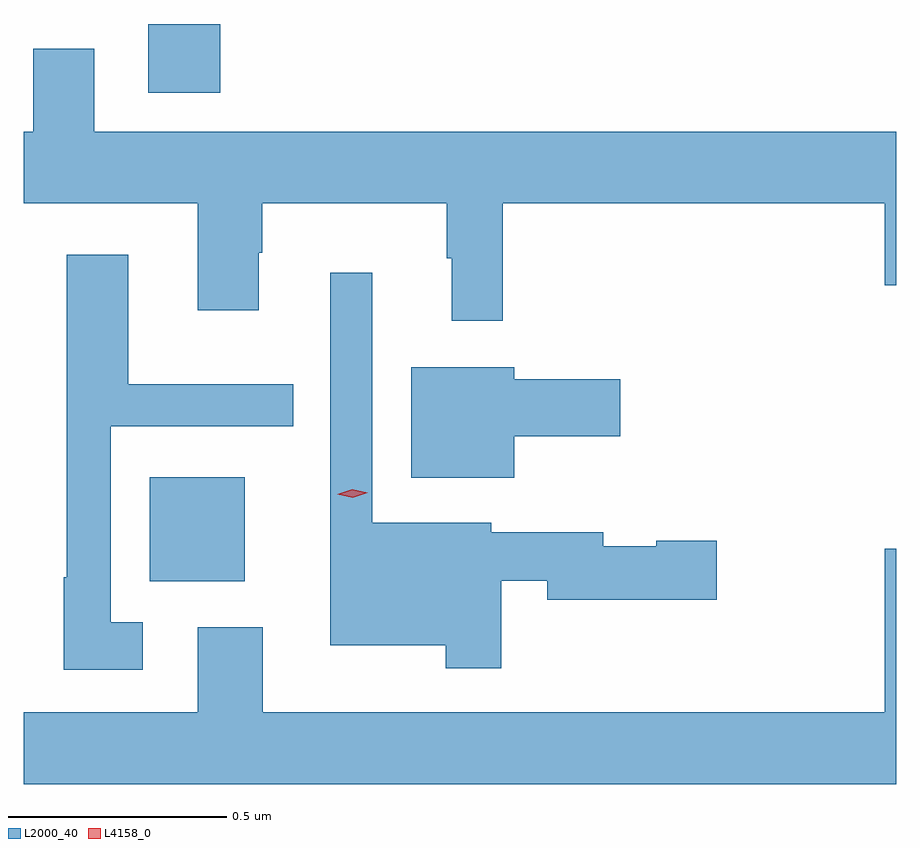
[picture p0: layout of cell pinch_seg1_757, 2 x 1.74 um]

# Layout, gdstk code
import gdstk
lib = gdstk.Library(unit=1e-6, precision=1e-09)
def R(c, l, rs):  # rectangles x0, y0, x1, y1
    for r in rs: c.add(gdstk.rectangle(r[:2], r[2:], *l))
def P(c, l, *ps):  # polygons
    for p in ps: c.add(gdstk.Polygon(p, *l))
L2000_40 = (2000, 40)
L4158_0 = (4158, 0)

pinch_seg1_757 = lib.new_cell('pinch_seg1_757')
R(pinch_seg1_757, L2000_40, [(858.626,517.565,858.844,517.804), (858.623,518.685,858.788,518.843)])
P(pinch_seg1_757, L2000_40, [(859.436,518.432),(860.312,518.432),(860.312,518.244),(860.338,518.244),(860.338,518.596),(858.499,518.596),(858.499,518.786),(858.359,518.786),(858.359,518.596),(858.338,518.596),(858.338,518.432),(858.737,518.432),(858.737,518.187),(858.877,518.187),(858.877,518.318),(858.885,518.318),(858.885,518.432),(859.308,518.432),(859.308,518.306),(859.319,518.306),(859.319,518.163),(859.436,518.163)],
  [(858.61,517.471),(858.537,517.471),(858.537,517.92),(858.956,517.92),(858.956,518.017),(858.577,518.017),(858.577,518.314),(858.436,518.314),(858.436,517.574),(858.429,517.574),(858.429,517.362),(858.61,517.362)],
  [(859.433,517.566),(859.538,517.566),(859.538,517.523),(859.927,517.523),(859.927,517.658),(859.788,517.658),(859.788,517.645),(859.666,517.645),(859.666,517.677),(859.41,517.677),(859.41,517.699),(859.137,517.699),(859.137,518.272),(859.041,518.272),(859.041,517.795),(859.04,517.795),(859.04,517.418),(859.305,517.418),(859.305,517.365),(859.433,517.365)],
  [(859.462,517.898),(859.705,517.898),(859.705,518.028),(859.462,518.028),(859.462,518.056),(859.226,518.056),(859.226,517.802),(859.462,517.802)],
  [(860.338,517.639),(860.312,517.639),(860.312,517.264),(858.886,517.264),(858.886,517.459),(858.737,517.459),(858.737,517.264),(858.338,517.264),(858.338,517.1),(860.338,517.1)])
P(pinch_seg1_757, L4158_0, [(859.092,517.756),(859.056,517.764),(859.056,517.765),(859.056,517.765),(859.091,517.776),(859.127,517.768),(859.127,517.768),(859.127,517.768)])

lib.write_gds('pinch_seg1_757.gds')
